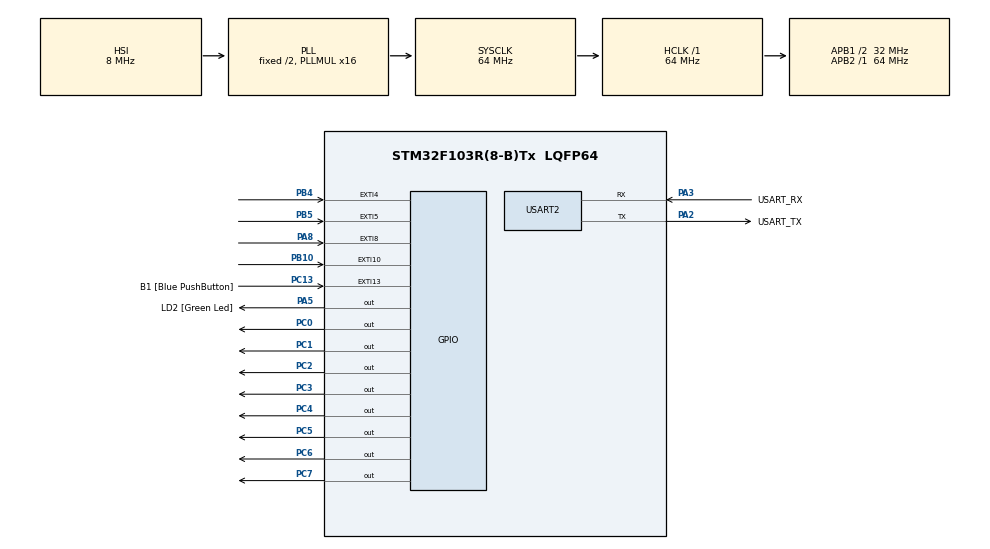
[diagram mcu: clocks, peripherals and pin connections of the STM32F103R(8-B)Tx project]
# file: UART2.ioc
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Mcu.Family=STM32F1
Mcu.Name=STM32F103R(8-B)Tx
Mcu.Package=LQFP64
NVIC.EXTI15_10_IRQn=true\:0\:0\:false\:false\:true\:true\:true\:true
NVIC.EXTI4_IRQn=true\:0\:0\:false\:false\:true\:true\:true\:true
NVIC.EXTI9_5_IRQn=true\:0\:0\:false\:false\:true\:true\:true\:true
NVIC.PriorityGroup=NVIC_PRIORITYGROUP_4
NVIC.USART2_IRQn=true\:0\:0\:false\:false\:true\:true\:true\:true
PA2.GPIO_Label=USART_TX
PA2.GPIO_Mode=GPIO_MODE_AF_PP
PA2.GPIO_PuPd=GPIO_NOPULL
PA2.GPIO_Speed=GPIO_SPEED_FREQ_LOW
PA2.Mode=Asynchronous
PA2.Signal=USART2_TX
PA3.GPIO_Label=USART_RX
PA3.GPIO_Mode=GPIO_MODE_AF_PP
PA3.GPIO_PuPd=GPIO_NOPULL
PA3.GPIO_Speed=GPIO_SPEED_FREQ_LOW
PA3.Mode=Asynchronous
PA3.Signal=USART2_RX
PA5.GPIO_Label=LD2 [Green Led]
PA5.GPIO_ModeDefaultOutputPP=GPIO_MODE_OUTPUT_PP
PA5.GPIO_PuPd=GPIO_NOPULL
PA5.GPIO_Speed=GPIO_SPEED_FREQ_LOW
PA5.Signal=GPIO_Output
PA8.Signal=GPXTI8
PB10.Signal=GPXTI10
PB4.Signal=GPXTI4
PB5.Signal=GPXTI5
PC0.Signal=GPIO_Output
PC1.Signal=GPIO_Output
PC13-TAMPER-RTC.GPIO_Label=B1 [Blue PushButton]
PC13-TAMPER-RTC.GPIO_PuPd=GPIO_NOPULL
PC13-TAMPER-RTC.Signal=GPXTI13
PC2.Signal=GPIO_Output
PC3.Signal=GPIO_Output
PC4.Signal=GPIO_Output
PC5.Signal=GPIO_Output
PC6.Signal=GPIO_Output
PC7.Signal=GPIO_Output
ProjectManager.HeapSize=0x200
ProjectManager.StackSize=0x400
ProjectManager.TargetToolchain=STM32CubeIDE
RCC.AHBFreq_Value=64000000
RCC.APB1CLKDivider=RCC_HCLK_DIV2
RCC.APB1Freq_Value=32000000
RCC.APB1TimFreq_Value=64000000
RCC.APB2Freq_Value=64000000
RCC.APB2TimFreq_Value=64000000
RCC.HCLKFreq_Value=64000000
RCC.PLLMUL=RCC_PLL_MUL16
RCC.RTCClockSelection=RCC_RTCCLKSOURCE_LSE
RCC.SYSCLKFreq_VALUE=64000000
RCC.SYSCLKSource=RCC_SYSCLKSOURCE_PLLCLK
RCC.USBFreq_Value=64000000
USART2.VirtualMode=VM_ASYNC
VP_SYS_VS_ND.Mode=No_Debug
board=NUCLEO-F103RB

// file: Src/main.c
/* USER CODE BEGIN Header */
/**
 ******************************************************************************
 * @file           : main.c
 * @brief          : Main program body
 ******************************************************************************
 * @attention
 *
 * Copyright (c) 2024 STMicroelectronics.
 * All rights reserved.
 *
 * This software is licensed under terms that can be found in the LICENSE file
 * in the root directory of this software component.
 * If no LICENSE file comes with this software, it is provided AS-IS.
 *
 ******************************************************************************
 */
/* USER CODE END Header */
#include "main.h"

/* USER CODE BEGIN PD */
#define MESSAGESIZE (SIZE(Message) - 1)
#define MESSAGESIZE1 (SIZE(Message1) - 1)
#define MESSAGESIZE2 (SIZE(Message2) - 1)
#define MESSAGESIZE3 (SIZE(Message3) - 1)
#define MESSAGESIZE4 (SIZE(Message4) - 1)
#define SIZE(m) (sizeof(m)/sizeof(*(m)))
/* USER CODE END PD */

/* USER CODE BEGIN PM */
int flag1 = 0;
int flag2 = 0;
int flag3 = 0;
int flag4 = 0;
/* USER CODE END PM */

UART_HandleTypeDef huart2;

/* USER CODE BEGIN PV */
uint8_t Message[] = "HELLO UART2\n\r";
uint8_t Message1[] = "Button1 is prssed\n\r";
uint8_t Message2[] = "Button2 is prssed\n\r";
uint8_t Message3[] = "Button3 is prssed\n\r";
uint8_t Message4[] = "Button4 is prssed\n\r";
/* USER CODE END PV */

void SystemClock_Config(void);
static void MX_GPIO_Init(void);
static void MX_USART2_UART_Init(void);
/* USER CODE BEGIN PFP */
void LED_OnOff(uint16_t led, int delay);
void HAL_GPIO_EXTI_Callback(uint16_t GPIO_Pin) {
	if (GPIO_Pin == GPIO_PIN_8) {
		HAL_UART_Transmit(&huart2, (uint8_t*) Message1, MESSAGESIZE1, 0xff);
		flag1 = 1;
		/*flag2 = 0;
		 flag3 = 0;
		 flag4 = 0;*/
	}
	if (GPIO_Pin == GPIO_PIN_4) {
		HAL_UART_Transmit(&huart2, (uint8_t*) Message2, MESSAGESIZE2, 0xff);
		//flag1 = 0;
		flag2 = 1;
		/*flag3 = 0;
		 flag4 = 0;*/
	}
	if (GPIO_Pin == GPIO_PIN_5) {
		HAL_UART_Transmit(&huart2, (uint8_t*) Message3, MESSAGESIZE3, 0xff);
		//flag1 = 0;
		//flag2 = 0;
		flag3 = 1;
		//flag4 = 0;
	}
	if (GPIO_Pin == GPIO_PIN_10) {
		HAL_UART_Transmit(&huart2, (uint8_t*) Message4, MESSAGESIZE4, 0xff);
		/*flag1 = 0;
		 flag2 = 0;
		 flag3 = 0;*/
		flag4 = 1;
	}
}

/* USER CODE END PFP */

int main(void) {

	/* USER CODE BEGIN 1 */
	uint16_t led = 0x00;
	/* USER CODE END 1 */

	/* MCU Configuration--------------------------------------------------------*/

	/* Reset of all peripherals, Initializes the Flash interface and the Systick. */
	HAL_Init();

	/* Configure the system clock */
	SystemClock_Config();

	/* Initialize all configured peripherals */
	MX_GPIO_Init();
	MX_USART2_UART_Init();
	/* USER CODE BEGIN 2 */
	LED_OnOff(0xff, 500);
	HAL_UART_Transmit(&huart2, (uint8_t*) Message, MESSAGESIZE, 0xff);
	/* USER CODE END 2 */

	/* Infinite loop */
	/* USER CODE BEGIN WHILE */
	while (1) {
		led = 0x00;
		/* USER CODE END WHILE */

		/* USER CODE BEGIN 3 */
		if (flag1 == 1) {
			led = led | 0x03;
			LED_OnOff(led, 100);
			flag1 = 0;
		}
		if (flag2 == 1) {
			led = led | 0x0c;
			LED_OnOff(led, 100);
			flag2 = 0;
		}
		if (flag3 == 1) {
			led = led | 0x30;
			LED_OnOff(led, 100);
			flag3 = 0;
		}
		if (flag4 == 1) {
			led = led | 0xc0;
			LED_OnOff(led, 100);
			flag4 = 0;
		}
		// HAL_Delay(100); 이것을 넣으면 개선 되긴 하지만 별로 좋지는 않음
	}
	/* USER CODE END 3 */
}

void SystemClock_Config(void) {
	RCC_OscInitTypeDef RCC_OscInitStruct = { 0 };
	RCC_ClkInitTypeDef RCC_ClkInitStruct = { 0 };

	/** Initializes the RCC Oscillators according to the specified parameters
	 * in the RCC_OscInitTypeDef structure.
	 */
	RCC_OscInitStruct.OscillatorType = RCC_OSCILLATORTYPE_HSI;
	RCC_OscInitStruct.HSIState = RCC_HSI_ON;
	RCC_OscInitStruct.HSICalibrationValue = RCC_HSICALIBRATION_DEFAULT;
	RCC_OscInitStruct.PLL.PLLState = RCC_PLL_ON;
	RCC_OscInitStruct.PLL.PLLSource = RCC_PLLSOURCE_HSI_DIV2;
	RCC_OscInitStruct.PLL.PLLMUL = RCC_PLL_MUL16;
	if (HAL_RCC_OscConfig(&RCC_OscInitStruct) != HAL_OK) {
		Error_Handler();
	}

	/** Initializes the CPU, AHB and APB buses clocks
	 */
	RCC_ClkInitStruct.ClockType = RCC_CLOCKTYPE_HCLK | RCC_CLOCKTYPE_SYSCLK
			| RCC_CLOCKTYPE_PCLK1 | RCC_CLOCKTYPE_PCLK2;
	RCC_ClkInitStruct.SYSCLKSource = RCC_SYSCLKSOURCE_PLLCLK;
	RCC_ClkInitStruct.AHBCLKDivider = RCC_SYSCLK_DIV1;
	RCC_ClkInitStruct.APB1CLKDivider = RCC_HCLK_DIV2;
	RCC_ClkInitStruct.APB2CLKDivider = RCC_HCLK_DIV1;

	if (HAL_RCC_ClockConfig(&RCC_ClkInitStruct, FLASH_LATENCY_2) != HAL_OK) {
		Error_Handler();
	}
}

static void MX_USART2_UART_Init(void) {

	huart2.Instance = USART2;
	huart2.Init.BaudRate = 115200;
	huart2.Init.WordLength = UART_WORDLENGTH_8B;
	huart2.Init.StopBits = UART_STOPBITS_1;
	huart2.Init.Parity = UART_PARITY_NONE;
	huart2.Init.Mode = UART_MODE_TX_RX;
	huart2.Init.HwFlowCtl = UART_HWCONTROL_NONE;
	huart2.Init.OverSampling = UART_OVERSAMPLING_16;
	if (HAL_UART_Init(&huart2) != HAL_OK) {
		Error_Handler();
	}

}

static void MX_GPIO_Init(void) {
	GPIO_InitTypeDef GPIO_InitStruct = { 0 };

	/* GPIO Ports Clock Enable */
	__HAL_RCC_GPIOC_CLK_ENABLE();
	__HAL_RCC_GPIOA_CLK_ENABLE();
	__HAL_RCC_GPIOB_CLK_ENABLE();

	/*Configure GPIO pin Output Level */
	HAL_GPIO_WritePin(GPIOC,
			GPIO_PIN_0 | GPIO_PIN_1 | GPIO_PIN_2 | GPIO_PIN_3 | GPIO_PIN_4
					| GPIO_PIN_5 | GPIO_PIN_6 | GPIO_PIN_7, GPIO_PIN_RESET);

	/*Configure GPIO pin Output Level */
	HAL_GPIO_WritePin(LD2_GPIO_Port, LD2_Pin, GPIO_PIN_RESET);

	/*Configure GPIO pin : B1_Pin */
	GPIO_InitStruct.Pin = B1_Pin;
	GPIO_InitStruct.Mode = GPIO_MODE_IT_RISING;
	GPIO_InitStruct.Pull = GPIO_NOPULL;
	HAL_GPIO_Init(B1_GPIO_Port, &GPIO_InitStruct);

	/*Configure GPIO pins : PC0 PC1 PC2 PC3
	 PC4 PC5 PC6 PC7 */
	GPIO_InitStruct.Pin = GPIO_PIN_0 | GPIO_PIN_1 | GPIO_PIN_2 | GPIO_PIN_3
			| GPIO_PIN_4 | GPIO_PIN_5 | GPIO_PIN_6 | GPIO_PIN_7;
	GPIO_InitStruct.Mode = GPIO_MODE_OUTPUT_PP;
	GPIO_InitStruct.Pull = GPIO_NOPULL;
	GPIO_InitStruct.Speed = GPIO_SPEED_FREQ_LOW;
	HAL_GPIO_Init(GPIOC, &GPIO_InitStruct);

	/*Configure GPIO pin : LD2_Pin */
	GPIO_InitStruct.Pin = LD2_Pin;
	GPIO_InitStruct.Mode = GPIO_MODE_OUTPUT_PP;
	GPIO_InitStruct.Pull = GPIO_NOPULL;
	GPIO_InitStruct.Speed = GPIO_SPEED_FREQ_LOW;
	HAL_GPIO_Init(LD2_GPIO_Port, &GPIO_InitStruct);

	/*Configure GPIO pins : PB10 PB4 PB5 */
	GPIO_InitStruct.Pin = GPIO_PIN_10 | GPIO_PIN_4 | GPIO_PIN_5;
	GPIO_InitStruct.Mode = GPIO_MODE_IT_FALLING;
	GPIO_InitStruct.Pull = GPIO_NOPULL;
	HAL_GPIO_Init(GPIOB, &GPIO_InitStruct);

	/*Configure GPIO pin : PA8 */
	GPIO_InitStruct.Pin = GPIO_PIN_8;
	GPIO_InitStruct.Mode = GPIO_MODE_IT_FALLING;
	GPIO_InitStruct.Pull = GPIO_NOPULL;
	HAL_GPIO_Init(GPIOA, &GPIO_InitStruct);

	/* EXTI interrupt init*/
	HAL_NVIC_SetPriority(EXTI4_IRQn, 0, 0);
	HAL_NVIC_EnableIRQ(EXTI4_IRQn);

	HAL_NVIC_SetPriority(EXTI9_5_IRQn, 0, 0);
	HAL_NVIC_EnableIRQ(EXTI9_5_IRQn);

	HAL_NVIC_SetPriority(EXTI15_10_IRQn, 0, 0);
	HAL_NVIC_EnableIRQ(EXTI15_10_IRQn);

}

/* USER CODE BEGIN 4 */
void LED_OnOff(uint16_t led, int delay) {
	HAL_GPIO_WritePin(GPIOC, led, GPIO_PIN_SET);
	HAL_Delay(delay);
	HAL_GPIO_WritePin(GPIOC, led, GPIO_PIN_RESET);
}
/* USER CODE END 4 */

void Error_Handler(void) {
	__disable_irq();
	while (1) {
	}
}
